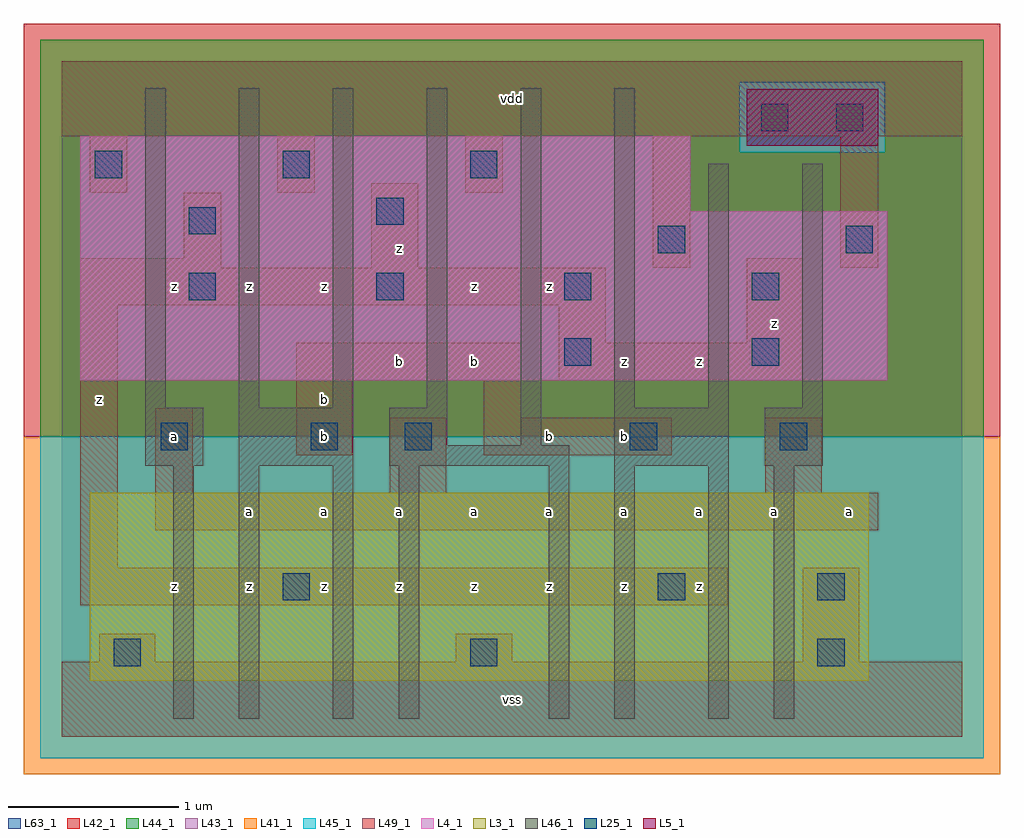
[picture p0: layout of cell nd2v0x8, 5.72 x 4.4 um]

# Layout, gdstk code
import gdstk
lib = gdstk.Library(unit=1e-6, precision=1e-09)
def R(c, l, rs):  # rectangles x0, y0, x1, y1
    for r in rs: c.add(gdstk.rectangle(r[:2], r[2:], *l))
def A(c, l, x, y, w, h, nx, ny, dx, dy):  # array of equal rectangles
    R(c, l, [(x+i*dx, y+j*dy, x+i*dx+w, y+j*dy+h) for i in range(nx) for j in range(ny)])
L3_1 = (3, 1)
L4_1 = (4, 1)
L5_1 = (5, 1)
L25_1 = (25, 1)
L41_1 = (41, 1)
L42_1 = (42, 1)
L43_1 = (43, 1)
L44_1 = (44, 1)
L45_1 = (45, 1)
L46_1 = (46, 1)
L49_1 = (49, 1)
L63_1 = (63, 1)

nd2v0x8 = lib.new_cell('nd2v0x8')
R(nd2v0x8, L3_1, [(0.165,0.33,4.73,1.43)])
R(nd2v0x8, L4_1, [(0.11,2.09,4.84,3.08), (0.11,3.08,3.685,3.52)])
R(nd2v0x8, L5_1, [(4.015,3.465,4.785,3.795)])
A(nd2v0x8, L25_1, 0.745, 2.56, 0.16, 0.16, 4, 1, 1.1, 0)
A(nd2v0x8, L25_1, 0.195, 3.275, 0.16, 0.16, 3, 1, 1.1, 0)
R(nd2v0x8, L25_1, [(0.305,0.415,0.465,0.575), (2.395,0.415,2.555,0.575), (4.43,0.415,4.59,0.575), (1.295,0.8,1.455,0.96), (3.495,0.8,3.655,0.96), (4.43,0.8,4.59,0.96), (0.58,1.68,0.74,1.84), (1.46,1.68,1.62,1.84), (2.01,1.68,2.17,1.84), (3.33,1.68,3.49,1.84), (4.21,1.68,4.37,1.84), (2.945,2.175,3.105,2.335), (4.045,2.175,4.205,2.335), (3.495,2.835,3.655,2.995), (4.595,2.835,4.755,2.995), (0.745,2.945,0.905,3.105), (1.845,3,2.005,3.16), (4.1,3.55,4.26,3.71), (4.54,3.55,4.7,3.71)])
R(nd2v0x8, L41_1, [(-0.22,-0.22,5.5,1.76)])
R(nd2v0x8, L42_1, [(-0.22,1.76,5.5,4.18)])
R(nd2v0x8, L43_1, [(0.165,0.33,4.73,1.43), (0.11,2.09,4.84,3.08), (0.11,3.08,3.685,3.52), (4.015,3.465,4.785,3.795)])
R(nd2v0x8, L44_1, [(-0.125,1.76,5.405,3.425), (-0.125,3.425,3.975,3.835), (4.825,3.425,5.405,3.835), (-0.125,3.835,5.405,4.085)])
R(nd2v0x8, L45_1, [(-0.125,-0.125,5.405,1.76), (3.975,3.425,4.825,3.835)])
A(nd2v0x8, L46_1, 0.49, 1.93, 0.12, 1.87, 4, 1, 0.55, 0)
R(nd2v0x8, L46_1, [(0.655,0.105,0.775,1.59), (1.04,0.105,1.16,1.59), (1.59,0.105,1.71,1.59), (1.975,0.105,2.095,1.59), (2.855,0.105,2.975,1.59), (3.24,0.105,3.36,1.59), (3.79,0.105,3.91,1.59), (4.175,0.105,4.295,1.59), (0.49,1.59,0.83,1.93), (1.04,1.59,1.71,1.93), (1.92,1.59,2.975,1.71), (3.24,1.59,3.91,1.93), (4.12,1.59,4.46,1.93), (1.92,1.71,2.26,1.93), (2.69,1.71,2.81,3.8), (3.24,1.93,3.36,3.8), (3.79,1.93,3.91,3.36), (4.34,1.93,4.46,3.36)])
A(nd2v0x8, L49_1, 0.165, 3.19, 0.22, 0.33, 3, 1, 1.1, 0)
R(nd2v0x8, L49_1, [(0,0,5.28,0.44), (0.22,0.44,0.55,0.605), (2.31,0.44,2.64,0.605), (4.345,0.44,4.675,0.99), (0.11,0.77,3.905,0.99), (0.11,0.99,0.33,2.53), (0.55,1.21,4.785,1.43), (0.55,1.43,0.77,1.925), (1.925,1.43,2.255,1.87), (4.125,1.43,4.455,1.87), (1.375,1.65,1.705,2.09), (2.475,1.65,3.575,1.87), (2.475,1.87,2.695,2.09), (1.375,2.09,2.695,2.31), (2.915,2.09,4.345,2.31), (2.915,2.31,3.19,2.53), (4.015,2.31,4.345,2.805), (0.11,2.53,3.19,2.75), (0.11,2.75,0.935,2.805), (1.815,2.75,2.09,3.245), (3.465,2.75,3.685,3.52), (4.565,2.75,4.785,3.52), (0.715,2.805,0.935,3.19), (0,3.52,5.28,3.96)])
R(nd2v0x8, L63_1, [(0,0,5.28,3.96)])
nd2v0x8.add(gdstk.Label('z', (0.66,0.88), layer=49, texttype=1))
nd2v0x8.add(gdstk.Label('a', (0.66,1.76), layer=49, texttype=1))
nd2v0x8.add(gdstk.Label('z', (0.22,1.98), layer=49, texttype=1))
nd2v0x8.add(gdstk.Label('z', (0.66,2.64), layer=49, texttype=1))
nd2v0x8.add(gdstk.Label('z', (1.54,0.88), layer=49, texttype=1))
nd2v0x8.add(gdstk.Label('z', (1.1,0.88), layer=49, texttype=1))
nd2v0x8.add(gdstk.Label('a', (1.1,1.32), layer=49, texttype=1))
nd2v0x8.add(gdstk.Label('a', (1.54,1.32), layer=49, texttype=1))
nd2v0x8.add(gdstk.Label('b', (1.54,1.76), layer=49, texttype=1))
nd2v0x8.add(gdstk.Label('b', (1.54,1.98), layer=49, texttype=1))
nd2v0x8.add(gdstk.Label('z', (1.1,2.64), layer=49, texttype=1))
nd2v0x8.add(gdstk.Label('z', (1.54,2.64), layer=49, texttype=1))
nd2v0x8.add(gdstk.Label('vss', (2.64,0.22), layer=49, texttype=1))
nd2v0x8.add(gdstk.Label('z', (2.42,0.88), layer=49, texttype=1))
nd2v0x8.add(gdstk.Label('z', (2.86,0.88), layer=49, texttype=1))
nd2v0x8.add(gdstk.Label('z', (1.98,0.88), layer=49, texttype=1))
nd2v0x8.add(gdstk.Label('a', (1.98,1.32), layer=49, texttype=1))
nd2v0x8.add(gdstk.Label('a', (2.42,1.32), layer=49, texttype=1))
nd2v0x8.add(gdstk.Label('a', (2.86,1.32), layer=49, texttype=1))
nd2v0x8.add(gdstk.Label('b', (2.86,1.76), layer=49, texttype=1))
nd2v0x8.add(gdstk.Label('b', (1.98,2.2), layer=49, texttype=1))
nd2v0x8.add(gdstk.Label('b', (2.42,2.2), layer=49, texttype=1))
nd2v0x8.add(gdstk.Label('z', (1.98,2.86), layer=49, texttype=1))
nd2v0x8.add(gdstk.Label('z', (2.42,2.64), layer=49, texttype=1))
nd2v0x8.add(gdstk.Label('z', (2.86,2.64), layer=49, texttype=1))
nd2v0x8.add(gdstk.Label('vdd', (2.64,3.74), layer=49, texttype=1))
nd2v0x8.add(gdstk.Label('z', (3.74,0.88), layer=49, texttype=1))
nd2v0x8.add(gdstk.Label('z', (3.3,0.88), layer=49, texttype=1))
nd2v0x8.add(gdstk.Label('a', (3.3,1.32), layer=49, texttype=1))
nd2v0x8.add(gdstk.Label('a', (3.74,1.32), layer=49, texttype=1))
nd2v0x8.add(gdstk.Label('a', (4.18,1.32), layer=49, texttype=1))
nd2v0x8.add(gdstk.Label('b', (3.3,1.76), layer=49, texttype=1))
nd2v0x8.add(gdstk.Label('z', (3.3,2.2), layer=49, texttype=1))
nd2v0x8.add(gdstk.Label('z', (3.74,2.2), layer=49, texttype=1))
nd2v0x8.add(gdstk.Label('z', (4.18,2.42), layer=49, texttype=1))
nd2v0x8.add(gdstk.Label('a', (4.62,1.32), layer=49, texttype=1))

lib.write_gds('nd2v0x8.gds')
